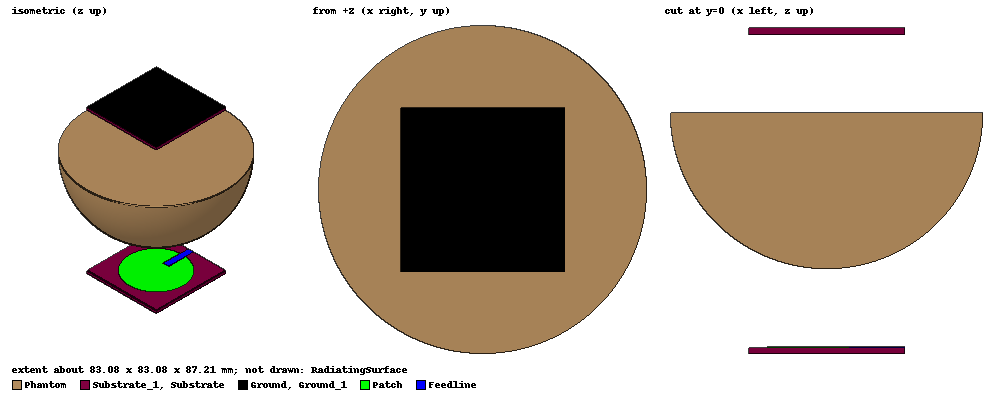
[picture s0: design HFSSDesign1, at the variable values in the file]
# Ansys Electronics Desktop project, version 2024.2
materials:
  vacuum: permittivity=1
  Duroid (tm): permittivity=2.2 dielectric_loss_tangent=0.0009
  Rogers RT/duroid 5880 (tm): permittivity=2.2 dielectric_loss_tangent=0.0009
  copper: permeability=0.999991 conductivity=58000000
  Breast Tissue: permittivity=10 conductivity=0.4 dielectric_loss_tangent=0.02
  Breast Tumor: permittivity=20 conductivity=1 dielectric_loss_tangent=0.05

design HFSSDesign1 (HFSS, HFSS Modal Network, model units mm)
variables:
  f0 = 2.45GHz
  h_sub = 1.67mm
  Er_sub = 4.4
  R_patch = 15.97mm
  W_feed = 3mm
  L_feed = 15mm
  W_sub = 41.54mm
  L_sub = 41.54mm
  t_ground = 0.05mm
  D_tumor = 7mm
  Er_tumor = 50
  t_feed = 0.05mm
  t_patch = 0.05mm
  W_slot = 5*W_feed/4
  R_phantom = 41.54mm
  H_phantom = t_patch+h_sub+2*R_phantom/2
  Tumor_x = -R_phantom/4
  Tumor_y = -R_phantom/20
  Tumor_z = -H_phantom/8
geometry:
  Substrate [Rogers RT/duroid 5880 (tm)] = box(corner=(-L_sub/2, -W_sub/2, 0mm), size=(L_sub, W_sub, h_sub))
  Ground [copper] = box(corner=(-L_sub/2, -W_sub/2, -t_ground), size=(L_sub, W_sub, t_ground))
  Patch [copper] = cylinder(axis=Z, base_centre=(0mm, 0mm, h_sub), radius=R_patch, height=t_patch)
  Feedline [copper] = box(corner=(-L_sub/2, -W_feed/2, h_sub), size=(L_feed, W_feed, t_feed))
  CUT = box(corner=(-R_patch, -W_slot/2, h_sub), size=(R_patch-L_sub/2+L_feed, W_slot, t_patch))
  Patch.subtract(CUT)
  Rectangle1 = rectangle(corner=(-L_sub/2, -W_feed/2, h_sub), y_size=W_feed, z_size=t_feed)
  coordinate_system Center = origin=(0mm, 0mm, t_patch+h_sub+2*R_phantom/2) x=(1mm, 0mm, 0mm) y=(0mm, 1mm, 0mm)
  Substrate_1 [Rogers RT/duroid 5880 (tm)] = Substrate.duplicate_mirror(point=(0mm, 0mm, 0mm), normal=(0mm, 0mm, 1mm)) in Center
  Ground_1 [copper] = Ground.duplicate_mirror(point=(0mm, 0mm, 0mm), normal=(0mm, 0mm, 1mm)) in Center
  Patch_1 [copper] = Patch.duplicate_mirror(point=(0mm, 0mm, 0mm), normal=(0mm, 0mm, 1mm)) in Center
  Feedline_1 [copper] = Feedline.duplicate_mirror(point=(0mm, 0mm, 0mm), normal=(0mm, 0mm, 1mm)) in Center
  Rectangle1_1 = Rectangle1.duplicate_mirror(point=(0mm, 0mm, 0mm), normal=(0mm, 0mm, 1mm)) in Center
  RadiatingSurface [vacuum] = region(absolute_offset=40.816327mm on all sides) in Center
  Phantom [Breast Tissue] = sphere(centre=(0mm, 0mm, R_Phantom/2), radius=R_phantom) in Center
  CUT3 = cylinder(axis=Z, base_centre=(0mm, 0mm, R_phantom/2), radius=R_phantom, height=R_Phantom) in Center
  Phantom.subtract(CUT3)
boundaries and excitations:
  Open1: Radiation Objects=RadiatingSurface
  1: Wave Port Objects=Rectangle1 WavePortType=Modal NumModes=1 Modes{Mode1{IntLine{(-20.77, 0, 1.67) -> (-20.77, 0, 1.72)} CharImp=Zpi RenormImp=50ohm}}
  2: Wave Port Objects=Rectangle1_1 WavePortType=Modal NumModes=1 Modes{Mode1{IntLine{(-20.77, 0, 84.85) -> (-20.77, 0, 84.8)} CharImp=Zpi RenormImp=50ohm}}
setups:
  Setup1: HfssDriven Frequency=2.45GHz MaxDeltaS=0.1 MaximumPasses=12 MinimumPasses=1 MinimumConvergedPasses=1 PercentRefinement=30 BasisOrder=1 PortAccuracy=2 DrivenSolverType="Direct Solver"
    sweep Sweep: 2.05GHz to 2.85GHz, 20 points; Type=Fast SaveFields
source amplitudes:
  1:1, 2:1: 1W 0deg
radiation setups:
  3D: Infinite Sphere Theta=0deg..180deg step 2deg Phi=-180deg..180deg step 2deg CoordSystem=Center
  Elevation: Infinite Sphere Theta=-180deg..180deg step 1deg Phi=0deg..90deg step 90deg CoordSystem=Center
  Azimuth: Infinite Sphere Theta=90deg..90deg step 0deg Phi=-180deg..180deg step 1deg CoordSystem=Center
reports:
  S Parameter Plot 1: dB(S(1,1)) vs Freq on Setup1 : Sweep
  S Parameter Plot 2: dB(S(2,1)) vs Freq on Setup1 : Sweep
  S Parameter Plot 3: dB(S(1,2)) vs Freq on Setup1 : Sweep
  S Parameter Plot 4: dB(S(2,2)) vs Freq on Setup1 : Sweep
